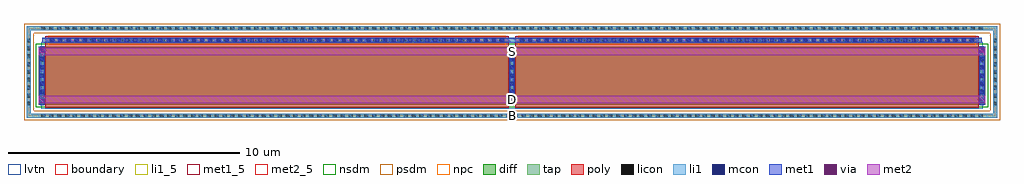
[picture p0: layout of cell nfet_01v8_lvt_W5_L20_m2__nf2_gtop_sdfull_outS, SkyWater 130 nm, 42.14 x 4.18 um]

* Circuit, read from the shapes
.subckt nfet_01v8_lvt_W5_L20_m2__nf2_gtop_sdfull_outS B D G S
XM1 D G S B sky130_fd_pr__nfet_01v8_lvt w=2.5 l=20 m=2
.ends

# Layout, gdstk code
import gdstk
lib = gdstk.Library(unit=1e-6, precision=1e-09)
def R(c, l, rs):  # rectangles x0, y0, x1, y1
    for r in rs: c.add(gdstk.rectangle(r[:2], r[2:], *l))
def A(c, l, x, y, w, h, nx, ny, dx, dy):  # array of equal rectangles
    R(c, l, [(x+i*dx, y+j*dy, x+i*dx+w, y+j*dy+h) for i in range(nx) for j in range(ny)])
diff = (65, 20)
tap = (65, 44)
poly = (66, 20)
licon = (66, 44)
li1_5 = (67, 5)
li1 = (67, 20)
mcon = (67, 44)
met1_5 = (68, 5)
met1 = (68, 20)
via = (68, 44)
met2_5 = (69, 5)
met2 = (69, 20)
nsdm = (93, 44)
psdm = (94, 20)
npc = (95, 20)
lvtn = (125, 44)
boundary = (235, 4)

sky130_fd_pr__nfet_01v8_ = lib.new_cell('sky130_fd_pr__nfet_01v8_lvt_QVAAGQ')
R(sky130_fd_pr__nfet_01v8_, diff, [(-20.435,-1.405,20.435,1.095)])
R(sky130_fd_pr__nfet_01v8_, tap, [(-20.945,-1.965,20.945,-1.795), (-20.945,-1.795,-20.775,1.795), (20.775,-1.795,20.945,1.795), (-20.945,1.795,20.945,1.965)])
R(sky130_fd_pr__nfet_01v8_, poly, [(-20.145,-1.535,-0.145,1.535), (0.145,-1.535,20.145,1.535)])
A(sky130_fd_pr__nfet_01v8_, licon, -20.315, -1.965, 0.17, 0.17, 120, 2, 0.34, 3.76)
A(sky130_fd_pr__nfet_01v8_, licon, -20.945, -1.445, 0.17, 0.17, 1, 9, 0, 0.34)
A(sky130_fd_pr__nfet_01v8_, licon, 20.775, -1.445, 0.17, 0.17, 1, 9, 0, 0.34)
A(sky130_fd_pr__nfet_01v8_, licon, -20.375, -1.26, 0.17, 0.17, 3, 7, 20.29, 0.34)
A(sky130_fd_pr__nfet_01v8_, licon, -19.92, 1.285, 0.17, 0.17, 58, 1, 0.34, 0)
A(sky130_fd_pr__nfet_01v8_, licon, 0.37, 1.285, 0.17, 0.17, 58, 1, 0.34, 0)
A(sky130_fd_pr__nfet_01v8_, li1, -20.375, -1.425, 0.17, 2.54, 3, 1, 20.29, 0)
R(sky130_fd_pr__nfet_01v8_, li1, [(-20.945,-1.965,20.945,-1.795), (-20.945,-1.795,-20.775,1.795), (20.775,-1.795,20.945,1.795), (-20.29,1.285,20.29,1.455), (-20.945,1.795,20.945,1.965)])
A(sky130_fd_pr__nfet_01v8_, mcon, -20.375, -1.32, 0.17, 0.17, 3, 7, 20.29, 0.36)
A(sky130_fd_pr__nfet_01v8_, mcon, -19.95, 1.285, 0.17, 0.17, 55, 1, 0.36, 0)
A(sky130_fd_pr__nfet_01v8_, mcon, 0.34, 1.285, 0.17, 0.17, 55, 1, 0.36, 0)
A(sky130_fd_pr__nfet_01v8_, met1, -20.405, -1.405, 0.23, 2.5, 3, 1, 20.29, 0)
R(sky130_fd_pr__nfet_01v8_, met1, [(-20.125,1.255,-0.165,1.285), (0.165,1.255,20.125,1.285), (-20.29,1.285,20.29,1.455), (-20.125,1.455,-0.165,1.485), (0.165,1.455,20.125,1.485)])
R(sky130_fd_pr__nfet_01v8_, nsdm, [(-20.56,-1.53,20.56,1.22)])
R(sky130_fd_pr__nfet_01v8_, psdm, [(-21.07,-2.09,21.07,-1.67), (-21.07,-1.67,-20.65,1.67), (20.65,-1.67,21.07,1.67), (-21.07,1.67,21.07,2.09)])
R(sky130_fd_pr__nfet_01v8_, npc, [(-20.02,1.185,-0.27,1.555), (0.27,1.185,20.02,1.555)])
R(sky130_fd_pr__nfet_01v8_, lvtn, [(-20.325,-1.585,20.325,1.275)])
R(sky130_fd_pr__nfet_01v8_, boundary, [(-20.86,-1.88,20.86,1.88)])
sky130_fd_pr__nfet_01v8_.add(gdstk.Label('B', (0,-1.88), layer=67, texttype=5))
sky130_fd_pr__nfet_01v8_.add(gdstk.Label('D0', (-20.29,-0.155), layer=67, texttype=5))
sky130_fd_pr__nfet_01v8_.add(gdstk.Label('G', (10.145,1.37), layer=67, texttype=5))
sky130_fd_pr__nfet_01v8_.add(gdstk.Label('G', (-10.145,1.37), layer=67, texttype=5))
sky130_fd_pr__nfet_01v8_.add(gdstk.Label('S1', (0,-0.155), layer=67, texttype=5))

nfet_01v8_lvt_w5_l20_m2_ = lib.new_cell('nfet_01v8_lvt_W5_L20_m2__nf2_gtop_sdfull_outS')
R(nfet_01v8_lvt_w5_l20_m2_, li1_5, [(20.775,-0.085,20.945,0.085)])
R(nfet_01v8_lvt_w5_l20_m2_, li1, [(20.775,-0.085,20.945,0.085)])
R(nfet_01v8_lvt_w5_l20_m2_, met1_5, [(0.57,3.135,41.15,3.365)])
R(nfet_01v8_lvt_w5_l20_m2_, met1, [(20.73,0.525,20.99,0.845), (0.44,2.605,0.7,2.925), (41.02,2.605,41.28,2.925), (0.57,3.135,41.15,3.365)])
R(nfet_01v8_lvt_w5_l20_m2_, via, [(20.785,0.61,20.935,0.76), (0.495,2.69,0.645,2.84), (41.075,2.69,41.225,2.84)])
R(nfet_01v8_lvt_w5_l20_m2_, met2_5, [(0.435,0.525,41.285,0.845), (0.435,2.605,41.285,2.925)])
R(nfet_01v8_lvt_w5_l20_m2_, met2, [(0.435,0.525,41.285,0.845), (0.435,2.605,41.285,2.925)])
nfet_01v8_lvt_w5_l20_m2_.add(gdstk.Reference(sky130_fd_pr__nfet_01v8_, (20.86,1.88)))
nfet_01v8_lvt_w5_l20_m2_.add(gdstk.Label('S', (20.86,2.765), layer=69, texttype=5))
nfet_01v8_lvt_w5_l20_m2_.add(gdstk.Label('D', (20.86,0.685), layer=69, texttype=5))
nfet_01v8_lvt_w5_l20_m2_.add(gdstk.Label('G', (20.86,3.25), layer=68, texttype=5))
nfet_01v8_lvt_w5_l20_m2_.add(gdstk.Label('B', (20.86,0), layer=67, texttype=5))

lib.write_gds('nfet_01v8_lvt_W5_L20_m2__nf2_gtop_sdfull_outS.gds')
